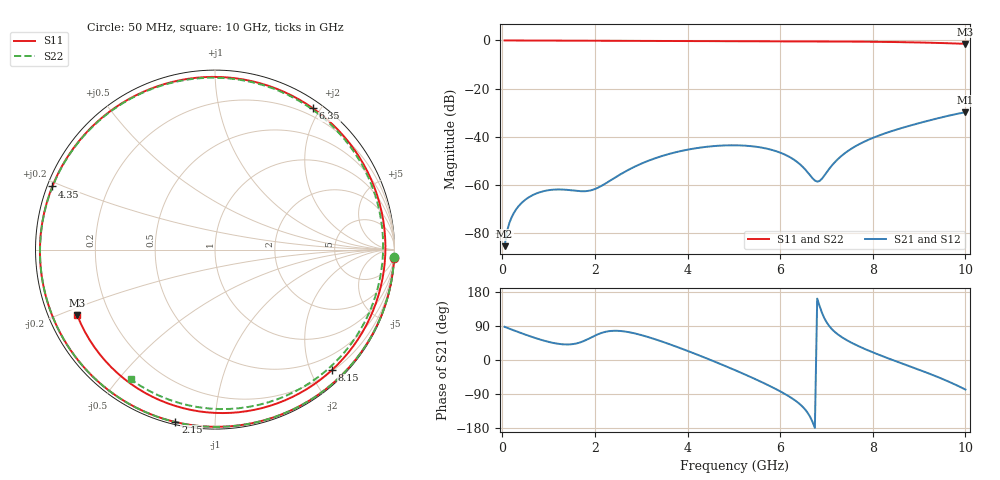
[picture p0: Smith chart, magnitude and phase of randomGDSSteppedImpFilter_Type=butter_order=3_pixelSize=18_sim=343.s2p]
! freq	dB(S11)	phase(S11)	dB(S12)	phase(S12)
!  dB(S21)	phase(S21)	dB(S22)	phase(S22)
!S-par simulation data
#  GHz  S  DB  R 50
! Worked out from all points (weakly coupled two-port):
!   200 points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, 50 MHz to 10 GHz, reference 50 ohm
!   highest |S21| = -29.76 dB at 10 GHz (marker M1); lowest = -85.3 dB at 50 MHz (marker M2)
!   lowest |S11| = -1.4 dB at 10 GHz (marker M3), VSWR 12.36, Z = 4.25 - j11.2 ohm
!   |S11| at or under -10 dB: nowhere
!   |S22| runs from -1.3 to 0.0 dB; largest |S21 - S12| = 0
!   S11 on the Smith chart (normalised r, x): 50 MHz: 1, -45; 2.15 GHz: 0.01, -0.80; 4.35 GHz: 0.01, +0.19; 6.35 GHz: 0.10, +1.91; 8.15 GHz: 0.22, -2.35; 10 GHz: 0.09, -0.22
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0.05  -0.01 -2.5  -85.28 87.5  -85.28 87.5  -0.01 -2.3
0.3  -0.02 -15.0  -69.98 75.9  -69.98 75.9  -0.02 -13.8
0.65  -0.04 -32.4  -64.18 60.5  -64.18 60.5  -0.03 -29.7
1.2  -0.07 -59.0  -61.77 42.9  -61.77 42.9  -0.07 -54.0
1.75  -0.10 -84.8  -62.51 49.6  -62.51 49.6  -0.09 -77.4
2.15  -0.13 -103.0  -60.19 71.7  -60.19 71.7  -0.11 -93.8
2.75  -0.15 -129.6  -53.37 73.1  -53.37 73.1  -0.14 -117.6
3.4  -0.19 -158.2  -48.20 50.7  -48.20 50.7  -0.17 -142.4
3.9  -0.22 179.5  -45.67 28.7  -45.67 28.7  -0.19 -161.3
4.35  -0.25 158.8  -44.23 7.4  -44.23 7.4  -0.22 -178.5
5.05  -0.29 124.9  -43.47 -28.0  -43.47 -28.0  -0.26 154.0
5.7  -0.33 91.1  -44.80 -64.0  -44.80 -64.0  -0.31 126.7
6.35  -0.37 55.3  -50.13 -109.1  -50.13 -109.1  -0.36 97.2
6.7  -0.40 35.5  -57.13 -163.5  -57.13 -163.5  -0.39 80.2
6.85  -0.41 26.9  -58.26 142.9  -58.26 142.9  -0.40 72.7
7.4  -0.46 -4.2  -46.70 55.1  -46.70 55.1  -0.46 43.8
8.15  -0.58 -45.9  -39.29 13.0  -39.29 13.0  -0.56 1.5
8.35  -0.63 -56.9  -37.95 3.6  -37.95 3.6  -0.60 -10.4
8.8  -0.76 -81.7  -35.33 -16.7  -35.33 -16.7  -0.72 -38.0
9.3  -0.98 -110.2  -32.77 -39.8  -32.77 -39.8  -0.90 -70.7
9.65  -1.17 -131.5  -31.14 -57.6  -31.14 -57.6  -1.08 -95.7
10  -1.41 -154.6  -29.76 -77.9  -29.76 -77.9  -1.29 -123.1
